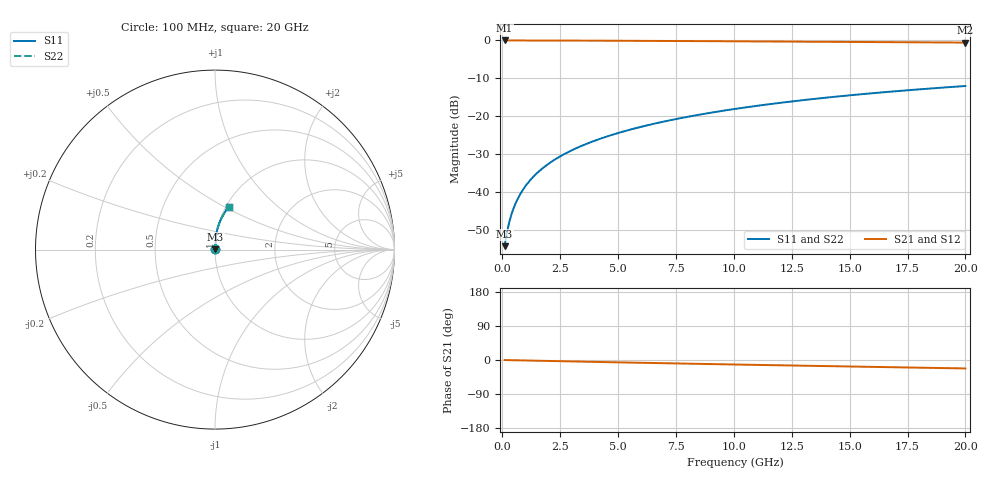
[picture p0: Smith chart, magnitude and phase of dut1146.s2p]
! Touchstone file exported from HFSS 2024.1.0
!  File:  C:/UserFiles/LocalFiles/RDL_TSV_Batchsim/temp_RDL_top_1146_1780048000.aedt
!  Generated:  05:48:48 PM May 29, 2026
!  Design:  RDL_top
!  Project:  temp_RDL_top_1146_1780048000
!  Setup:  Setup1
!  Solution:  Sweep
! Variables:
!  dtsv = 10.80580581um
!  hbump = 3um
!  htsv = 82.31um
!  ldown = 100um
!  lrdl = 270.79um
!  p = 40
!  p1 = 51.82um
!  rhole = 1um
!  t = 450um
!  tdown = 3.915915916um
!  trdl = 3.85um
!  wdown = 15.38538539um
!  wrdl = 19.3um
# GHz S MA R 50.000000
! Terminal data exported
! Port[1] = Box2_T1
! Port[2] = Box2_T2
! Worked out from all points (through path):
!   200 points, 100 MHz to 20 GHz, reference 50 ohm
!   highest |S21| = -0.01 dB at 100 MHz (marker M1); lowest = -0.6 dB at 20 GHz (marker M2)
!   group delay of S21, straight-line fit = 3.07 ps
!   lowest |S11| = -54.3 dB at 100 MHz (marker M3), VSWR 1.00, Z = 50.1 + j0.126 ohm
!   |S11| at or under -10 dB: start of sweep to end of sweep
!   |S22| runs from -54.3 to -12.0 dB; largest |S21 - S12| = 2e-15
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0.1  0.001932 40.5  0.9985 -0.1  0.9985 -0.1  0.001932 40.5
! Gamma 0 0 0 0
! Port Impedance 50 0 50 0
0.2  0.002911 58.5  0.9985 -0.3  0.9985 -0.3  0.002911 58.5
0.3  0.004005 66.7  0.9984 -0.4  0.9984 -0.4  0.004005 66.7
0.4  0.005123 71.4  0.9983 -0.5  0.9983 -0.5  0.005123 71.4
0.5  0.006249 74.4  0.9982 -0.6  0.9982 -0.6  0.00625 74.4
0.6  0.007382 76.6  0.9982 -0.8  0.9982 -0.8  0.007382 76.6
0.8  0.009662 79.5  0.998 -1.0  0.998 -1.0  0.009662 79.5
1.1  0.01312 82.0  0.9978 -1.4  0.9978 -1.4  0.01312 82.0
1.5  0.01777 83.8  0.9974 -1.9  0.9974 -1.9  0.01777 83.8
1.8  0.02128 84.7  0.997 -2.3  0.997 -2.3  0.02128 84.7
2.1  0.02482 85.3  0.9966 -2.7  0.9966 -2.7  0.02482 85.3
2.7  0.03195 86.0  0.9955 -3.4  0.9955 -3.4  0.03195 86.0
3.5  0.04158 86.3  0.9939 -4.4  0.9939 -4.4  0.04158 86.3
4.2  0.05012 86.4  0.9922 -5.2  0.9922 -5.2  0.05012 86.4
5  0.06002 86.2  0.99 -6.2  0.99 -6.2  0.06002 86.3
5.9  0.07131 85.9  0.9873 -7.3  0.9873 -7.3  0.07131 85.9
6.8  0.08275 85.4  0.9844 -8.3  0.9844 -8.3  0.08276 85.4
8.4  0.1034 84.2  0.9791 -10.1  0.9791 -10.1  0.1034 84.2
10.1  0.1255 82.6  0.9732 -12.0  0.9732 -12.0  0.1255 82.6
13.4  0.1683 79.2  0.9614 -15.5  0.9614 -15.5  0.1683 79.2
16.7  0.2101 75.6  0.9491 -18.9  0.9491 -18.9  0.2101 75.6
20  0.2503 72.0  0.9363 -22.3  0.9363 -22.3  0.2503 72.0
